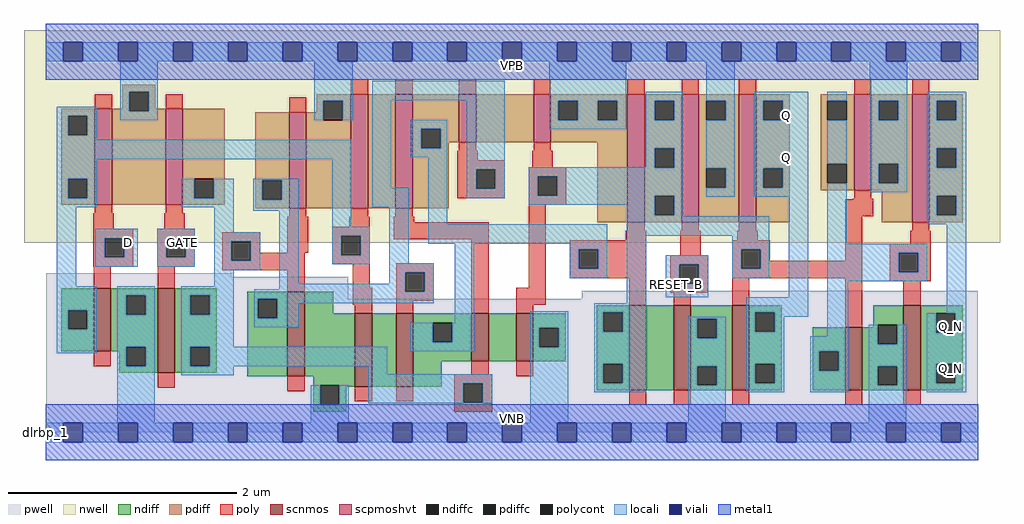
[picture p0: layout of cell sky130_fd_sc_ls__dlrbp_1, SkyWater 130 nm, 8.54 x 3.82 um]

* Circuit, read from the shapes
.subckt sky130_fd_sc_ls__dlrbp_1 D GATE RESET_B VGND VNB VPB VPWR Q Q_N
XM1 VGND D n1 VNB sky130_fd_pr__nfet_01v8 w=0.55 l=0.15
XM2 n2 GATE VGND VNB sky130_fd_pr__nfet_01v8 w=0.74 l=0.15
XM3 VGND n2 n3 VNB sky130_fd_pr__nfet_01v8 w=0.74 l=0.15
XM4 n4 n1 VGND VNB sky130_fd_pr__nfet_01v8 w=0.64 l=0.15
XM5 n5 n3 n4 VNB sky130_fd_pr__nfet_01v8 w=0.64 l=0.15
XM6 n6 n2 n5 VNB sky130_fd_pr__nfet_01v8 w=0.42 l=0.15
XM7 VGND n7 n6 VNB sky130_fd_pr__nfet_01v8 w=0.42 l=0.15
XM8 n8 n5 n7 VNB sky130_fd_pr__nfet_01v8 w=0.74 l=0.15
XM9 VGND RESET_B n8 VNB sky130_fd_pr__nfet_01v8 w=0.74 l=0.15
XM10 Q n7 VGND VNB sky130_fd_pr__nfet_01v8 w=0.74 l=0.15
XM11 VGND n7 n9 VNB sky130_fd_pr__nfet_01v8 w=0.55 l=0.15
XM12 Q_N n9 VGND VNB sky130_fd_pr__nfet_01v8 w=0.74 l=0.15
XM13 VPWR D n1 VPB sky130_fd_pr__pfet_01v8_hvt w=0.84 l=0.15
XM14 n2 GATE VPWR VPB sky130_fd_pr__pfet_01v8_hvt w=0.84 l=0.15
XM15 VPWR n2 n3 VPB sky130_fd_pr__pfet_01v8_hvt w=0.84 l=0.15
XM16 n10 n1 VPWR VPB sky130_fd_pr__pfet_01v8_hvt w=1 l=0.15
XM17 n5 n2 n10 VPB sky130_fd_pr__pfet_01v8_hvt w=1 l=0.15
XM18 n11 n3 n5 VPB sky130_fd_pr__pfet_01v8_hvt w=0.42 l=0.15
XM19 VPWR n7 n11 VPB sky130_fd_pr__pfet_01v8_hvt w=0.42 l=0.15
XM20 n7 n5 VPWR VPB sky130_fd_pr__pfet_01v8_hvt w=1.12 l=0.15
XM21 VPWR RESET_B n7 VPB sky130_fd_pr__pfet_01v8_hvt w=1.12 l=0.15
XM22 Q n7 VPWR VPB sky130_fd_pr__pfet_01v8_hvt w=1.12 l=0.15
XM23 VPWR n7 n9 VPB sky130_fd_pr__pfet_01v8_hvt w=0.84 l=0.15
XM24 Q_N n9 VPWR VPB sky130_fd_pr__pfet_01v8_hvt w=1.12 l=0.15
.ends

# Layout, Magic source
magic
tech sky130A
magscale 1 2
<< nwell >>
rect -38 332 1670 704
<< pwell >>
rect 1 272 325 278
rect 1 234 529 272
rect 938 234 1631 248
rect 1 49 1631 234
rect 0 0 1632 49
<< scnmos >>
rect 84 142 114 252
rect 196 104 226 252
rect 423 98 453 246
rect 541 80 571 208
rect 613 80 643 208
rect 745 124 775 208
rect 823 124 853 208
rect 1021 74 1051 222
rect 1099 74 1129 222
rect 1201 74 1231 222
rect 1399 74 1429 184
rect 1501 74 1531 222
<< scpmoshvt >>
rect 86 398 116 566
rect 210 398 240 566
rect 426 392 456 560
rect 534 392 564 592
rect 612 392 642 592
rect 723 508 753 592
rect 854 508 884 592
rect 1018 368 1048 592
rect 1113 368 1143 592
rect 1213 368 1243 592
rect 1415 424 1445 592
rect 1516 368 1546 592
<< ndiff >>
rect 27 214 84 252
rect 27 180 39 214
rect 73 180 84 214
rect 27 142 84 180
rect 114 240 196 252
rect 114 206 141 240
rect 175 206 196 240
rect 114 150 196 206
rect 114 142 141 150
rect 129 116 141 142
rect 175 116 196 150
rect 129 104 196 116
rect 226 240 299 252
rect 226 206 253 240
rect 287 206 299 240
rect 226 150 299 206
rect 226 116 253 150
rect 287 116 299 150
rect 226 104 299 116
rect 353 234 423 246
rect 353 200 371 234
rect 405 200 423 234
rect 353 98 423 200
rect 453 208 503 246
rect 964 210 1021 222
rect 453 98 541 208
rect 468 82 541 98
rect 468 48 480 82
rect 514 80 541 82
rect 571 80 613 208
rect 643 192 745 208
rect 643 158 677 192
rect 711 158 745 192
rect 643 124 745 158
rect 775 124 823 208
rect 853 183 910 208
rect 853 149 864 183
rect 898 149 910 183
rect 853 124 910 149
rect 964 176 976 210
rect 1010 176 1021 210
rect 643 80 693 124
rect 964 120 1021 176
rect 514 48 526 80
rect 468 36 526 48
rect 964 86 976 120
rect 1010 86 1021 120
rect 964 74 1021 86
rect 1051 74 1099 222
rect 1129 199 1201 222
rect 1129 165 1140 199
rect 1174 165 1201 199
rect 1129 116 1201 165
rect 1129 82 1140 116
rect 1174 82 1201 116
rect 1129 74 1201 82
rect 1231 210 1288 222
rect 1231 176 1242 210
rect 1276 176 1288 210
rect 1448 188 1501 222
rect 1448 184 1456 188
rect 1231 120 1288 176
rect 1231 86 1242 120
rect 1276 86 1288 120
rect 1231 74 1288 86
rect 1342 142 1399 184
rect 1342 108 1354 142
rect 1388 108 1399 142
rect 1342 74 1399 108
rect 1429 154 1456 184
rect 1490 154 1501 188
rect 1429 116 1501 154
rect 1429 82 1456 116
rect 1490 82 1501 116
rect 1429 74 1501 82
rect 1531 208 1605 222
rect 1531 174 1558 208
rect 1592 174 1605 208
rect 1531 120 1605 174
rect 1531 86 1558 120
rect 1592 86 1605 120
rect 1531 74 1605 86
<< pdiff >>
rect 134 596 192 608
rect 134 566 146 596
rect 27 554 86 566
rect 27 520 39 554
rect 73 520 86 554
rect 27 444 86 520
rect 27 410 39 444
rect 73 410 86 444
rect 27 398 86 410
rect 116 562 146 566
rect 180 566 192 596
rect 180 562 210 566
rect 116 398 210 562
rect 240 444 313 566
rect 474 580 534 592
rect 474 560 486 580
rect 240 410 260 444
rect 294 410 313 444
rect 240 398 313 410
rect 367 441 426 560
rect 367 407 379 441
rect 413 407 426 441
rect 367 392 426 407
rect 456 546 486 560
rect 520 546 534 580
rect 456 392 534 546
rect 564 392 612 592
rect 642 531 723 592
rect 642 497 657 531
rect 691 508 723 531
rect 753 508 854 592
rect 884 580 1018 592
rect 884 546 897 580
rect 931 546 966 580
rect 1000 546 1018 580
rect 884 508 1018 546
rect 691 497 705 508
rect 642 392 705 497
rect 965 368 1018 508
rect 1048 580 1113 592
rect 1048 546 1066 580
rect 1100 546 1113 580
rect 1048 497 1113 546
rect 1048 463 1066 497
rect 1100 463 1113 497
rect 1048 414 1113 463
rect 1048 380 1066 414
rect 1100 380 1113 414
rect 1048 368 1113 380
rect 1143 580 1213 592
rect 1143 546 1156 580
rect 1190 546 1213 580
rect 1143 462 1213 546
rect 1143 428 1156 462
rect 1190 428 1213 462
rect 1143 368 1213 428
rect 1243 580 1302 592
rect 1243 546 1256 580
rect 1290 546 1302 580
rect 1243 462 1302 546
rect 1243 428 1256 462
rect 1290 428 1302 462
rect 1243 368 1302 428
rect 1356 580 1415 592
rect 1356 546 1368 580
rect 1402 546 1415 580
rect 1356 470 1415 546
rect 1356 436 1368 470
rect 1402 436 1415 470
rect 1356 424 1415 436
rect 1445 580 1516 592
rect 1445 546 1458 580
rect 1492 546 1516 580
rect 1445 470 1516 546
rect 1445 436 1458 470
rect 1492 436 1516 470
rect 1445 424 1516 436
rect 1463 368 1516 424
rect 1546 580 1605 592
rect 1546 546 1559 580
rect 1593 546 1605 580
rect 1546 497 1605 546
rect 1546 463 1559 497
rect 1593 463 1605 497
rect 1546 414 1605 463
rect 1546 380 1559 414
rect 1593 380 1605 414
rect 1546 368 1605 380
<< ndiffc >>
rect 39 180 73 214
rect 141 206 175 240
rect 141 116 175 150
rect 253 206 287 240
rect 253 116 287 150
rect 371 200 405 234
rect 480 48 514 82
rect 677 158 711 192
rect 864 149 898 183
rect 976 176 1010 210
rect 976 86 1010 120
rect 1140 165 1174 199
rect 1140 82 1174 116
rect 1242 176 1276 210
rect 1242 86 1276 120
rect 1354 108 1388 142
rect 1456 154 1490 188
rect 1456 82 1490 116
rect 1558 174 1592 208
rect 1558 86 1592 120
<< pdiffc >>
rect 39 520 73 554
rect 39 410 73 444
rect 146 562 180 596
rect 260 410 294 444
rect 379 407 413 441
rect 486 546 520 580
rect 657 497 691 531
rect 897 546 931 580
rect 966 546 1000 580
rect 1066 546 1100 580
rect 1066 463 1100 497
rect 1066 380 1100 414
rect 1156 546 1190 580
rect 1156 428 1190 462
rect 1256 546 1290 580
rect 1256 428 1290 462
rect 1368 546 1402 580
rect 1368 436 1402 470
rect 1458 546 1492 580
rect 1458 436 1492 470
rect 1559 546 1593 580
rect 1559 463 1593 497
rect 1559 380 1593 414
<< poly >>
rect 86 566 116 592
rect 534 592 564 618
rect 612 592 642 618
rect 723 592 753 618
rect 854 592 884 618
rect 1018 592 1048 618
rect 1113 592 1143 618
rect 1213 592 1243 618
rect 1415 592 1445 618
rect 1516 592 1546 618
rect 210 566 240 592
rect 426 560 456 586
rect 86 383 116 398
rect 210 383 240 398
rect 723 493 753 508
rect 854 493 884 508
rect 720 476 756 493
rect 720 460 803 476
rect 851 464 887 493
rect 720 426 753 460
rect 787 426 803 460
rect 720 410 803 426
rect 845 448 911 464
rect 845 414 861 448
rect 895 414 911 448
rect 845 398 911 414
rect 83 356 119 383
rect 207 356 243 383
rect 426 377 456 392
rect 534 377 564 392
rect 612 377 642 392
rect 83 340 153 356
rect 83 306 103 340
rect 137 306 153 340
rect 83 290 153 306
rect 195 340 261 356
rect 195 306 211 340
rect 245 306 261 340
rect 195 290 261 306
rect 309 334 375 350
rect 309 300 325 334
rect 359 314 375 334
rect 423 314 459 377
rect 531 360 567 377
rect 501 344 567 360
rect 359 300 453 314
rect 84 252 114 290
rect 196 252 226 290
rect 309 284 453 300
rect 501 310 517 344
rect 551 310 567 344
rect 609 368 645 377
rect 609 338 775 368
rect 501 294 567 310
rect 84 116 114 142
rect 423 246 453 284
rect 537 253 567 294
rect 613 280 679 296
rect 196 78 226 104
rect 537 223 571 253
rect 541 208 571 223
rect 613 246 629 280
rect 663 246 679 280
rect 613 230 679 246
rect 613 208 643 230
rect 745 208 775 338
rect 845 253 875 398
rect 1415 409 1445 424
rect 1412 408 1448 409
rect 1399 378 1448 408
rect 1018 353 1048 368
rect 1113 353 1143 368
rect 1213 353 1243 368
rect 1015 336 1051 353
rect 917 320 1051 336
rect 917 286 933 320
rect 967 286 1051 320
rect 1110 310 1146 353
rect 1210 336 1246 353
rect 1201 320 1267 336
rect 917 270 1051 286
rect 823 223 875 253
rect 823 208 853 223
rect 1021 222 1051 270
rect 1093 294 1159 310
rect 1093 260 1109 294
rect 1143 260 1159 294
rect 1093 244 1159 260
rect 1201 286 1217 320
rect 1251 300 1267 320
rect 1399 300 1429 378
rect 1516 353 1546 368
rect 1513 330 1549 353
rect 1251 286 1429 300
rect 1201 270 1429 286
rect 1099 222 1129 244
rect 1201 222 1231 270
rect 423 72 453 98
rect 745 102 775 124
rect 715 86 781 102
rect 823 98 853 124
rect 541 54 571 80
rect 613 54 643 80
rect 715 52 731 86
rect 765 52 781 86
rect 1399 184 1429 270
rect 1477 314 1549 330
rect 1477 280 1493 314
rect 1527 280 1549 314
rect 1477 264 1549 280
rect 1501 222 1531 264
rect 715 36 781 52
rect 1021 48 1051 74
rect 1099 48 1129 74
rect 1201 48 1231 74
rect 1399 48 1429 74
rect 1501 48 1531 74
<< polycont >>
rect 753 426 787 460
rect 861 414 895 448
rect 103 306 137 340
rect 211 306 245 340
rect 325 300 359 334
rect 517 310 551 344
rect 629 246 663 280
rect 933 286 967 320
rect 1109 260 1143 294
rect 1217 286 1251 320
rect 731 52 765 86
rect 1493 280 1527 314
<< locali >>
rect 0 649 31 683
rect 65 649 127 683
rect 161 649 223 683
rect 257 649 319 683
rect 353 649 415 683
rect 449 649 511 683
rect 545 649 607 683
rect 641 649 703 683
rect 737 649 799 683
rect 833 649 895 683
rect 929 649 991 683
rect 1025 649 1087 683
rect 1121 649 1183 683
rect 1217 649 1279 683
rect 1313 649 1375 683
rect 1409 649 1471 683
rect 1505 649 1567 683
rect 1601 649 1632 683
rect 130 596 196 649
rect 19 554 89 570
rect 19 520 39 554
rect 73 520 89 554
rect 130 562 146 596
rect 180 562 196 596
rect 130 546 196 562
rect 470 580 537 649
rect 470 546 486 580
rect 520 546 537 580
rect 571 581 803 615
rect 19 512 89 520
rect 19 478 535 512
rect 19 444 89 478
rect 19 410 39 444
rect 73 410 89 444
rect 19 394 89 410
rect 237 410 260 444
rect 294 410 329 444
rect 237 394 329 410
rect 19 256 53 394
rect 87 340 161 356
rect 87 306 103 340
rect 137 306 161 340
rect 87 290 161 306
rect 195 340 261 356
rect 195 306 211 340
rect 245 306 261 340
rect 195 290 261 306
rect 295 350 329 394
rect 363 441 443 444
rect 363 407 379 441
rect 413 407 443 441
rect 363 388 443 407
rect 295 334 375 350
rect 295 300 325 334
rect 359 300 375 334
rect 295 284 375 300
rect 295 256 329 284
rect 19 214 89 256
rect 19 180 39 214
rect 73 180 89 214
rect 19 138 89 180
rect 125 240 191 256
rect 125 206 141 240
rect 175 206 191 240
rect 125 150 191 206
rect 125 116 141 150
rect 175 116 191 150
rect 125 17 191 116
rect 237 240 329 256
rect 409 260 443 388
rect 501 360 535 478
rect 571 428 605 581
rect 639 531 703 547
rect 639 497 657 531
rect 691 497 703 531
rect 639 481 703 497
rect 571 394 635 428
rect 501 344 567 360
rect 501 310 517 344
rect 551 310 567 344
rect 501 294 567 310
rect 601 296 635 394
rect 669 364 703 481
rect 737 460 803 581
rect 881 580 1016 649
rect 881 546 897 580
rect 931 546 966 580
rect 1000 546 1016 580
rect 881 530 1016 546
rect 1050 580 1116 596
rect 1050 546 1066 580
rect 1100 546 1116 580
rect 1050 497 1116 546
rect 1050 464 1066 497
rect 737 426 753 460
rect 787 426 803 460
rect 737 410 803 426
rect 845 463 1066 464
rect 1100 463 1116 497
rect 845 448 1116 463
rect 845 414 861 448
rect 895 414 1116 448
rect 845 398 1066 414
rect 1017 380 1066 398
rect 1100 380 1116 414
rect 1156 580 1206 649
rect 1190 546 1206 580
rect 1156 462 1206 546
rect 1190 428 1206 462
rect 1156 412 1206 428
rect 1240 580 1334 596
rect 1240 546 1256 580
rect 1290 546 1334 580
rect 1240 462 1334 546
rect 1240 428 1256 462
rect 1290 428 1334 462
rect 1240 412 1334 428
rect 1017 378 1116 380
rect 669 330 983 364
rect 601 280 679 296
rect 601 260 629 280
rect 409 250 629 260
rect 237 206 253 240
rect 287 206 329 240
rect 237 150 329 206
rect 365 246 629 250
rect 663 246 679 280
rect 365 234 679 246
rect 365 200 371 234
rect 405 226 679 234
rect 405 200 443 226
rect 365 184 443 200
rect 716 192 750 330
rect 917 320 983 330
rect 917 286 933 320
rect 967 286 983 320
rect 917 270 983 286
rect 1017 344 1266 378
rect 1017 226 1051 344
rect 1201 320 1266 344
rect 1085 294 1159 310
rect 1085 260 1109 294
rect 1143 260 1159 294
rect 1201 286 1217 320
rect 1251 286 1266 320
rect 1201 270 1266 286
rect 1085 236 1159 260
rect 1300 236 1334 412
rect 638 158 677 192
rect 711 158 750 192
rect 237 116 253 150
rect 287 116 598 150
rect 638 142 750 158
rect 848 183 914 212
rect 848 149 864 183
rect 898 149 914 183
rect 237 100 329 116
rect 564 102 598 116
rect 564 86 781 102
rect 464 48 480 82
rect 514 48 530 82
rect 564 52 731 86
rect 765 52 781 86
rect 564 51 781 52
rect 464 17 530 48
rect 848 17 914 149
rect 960 210 1051 226
rect 960 176 976 210
rect 1010 176 1051 210
rect 1226 210 1334 236
rect 960 120 1051 176
rect 960 86 976 120
rect 1010 86 1051 120
rect 960 70 1051 86
rect 1124 199 1190 202
rect 1124 165 1140 199
rect 1174 165 1190 199
rect 1124 116 1190 165
rect 1124 82 1140 116
rect 1174 82 1190 116
rect 1124 17 1190 82
rect 1226 176 1242 210
rect 1276 202 1334 210
rect 1368 580 1402 596
rect 1368 470 1402 546
rect 1368 330 1402 436
rect 1442 580 1508 649
rect 1442 546 1458 580
rect 1492 546 1508 580
rect 1442 470 1508 546
rect 1442 436 1458 470
rect 1492 436 1508 470
rect 1442 420 1508 436
rect 1543 580 1611 596
rect 1543 546 1559 580
rect 1593 546 1611 580
rect 1543 497 1611 546
rect 1543 463 1559 497
rect 1593 463 1611 497
rect 1543 414 1611 463
rect 1543 380 1559 414
rect 1593 380 1611 414
rect 1543 364 1611 380
rect 1368 314 1543 330
rect 1368 280 1493 314
rect 1527 280 1543 314
rect 1368 264 1543 280
rect 1276 176 1292 202
rect 1226 120 1292 176
rect 1368 168 1404 264
rect 1577 208 1611 364
rect 1226 86 1242 120
rect 1276 86 1292 120
rect 1226 70 1292 86
rect 1338 142 1404 168
rect 1338 108 1354 142
rect 1388 108 1404 142
rect 1338 70 1404 108
rect 1440 154 1456 188
rect 1490 154 1506 188
rect 1440 116 1506 154
rect 1440 82 1456 116
rect 1490 82 1506 116
rect 1440 17 1506 82
rect 1542 174 1558 208
rect 1592 174 1611 208
rect 1542 120 1611 174
rect 1542 86 1558 120
rect 1592 86 1611 120
rect 1542 70 1611 86
rect 0 -17 31 17
rect 65 -17 127 17
rect 161 -17 223 17
rect 257 -17 319 17
rect 353 -17 415 17
rect 449 -17 511 17
rect 545 -17 607 17
rect 641 -17 703 17
rect 737 -17 799 17
rect 833 -17 895 17
rect 929 -17 991 17
rect 1025 -17 1087 17
rect 1121 -17 1183 17
rect 1217 -17 1279 17
rect 1313 -17 1375 17
rect 1409 -17 1471 17
rect 1505 -17 1567 17
rect 1601 -17 1632 17
<< viali >>
rect 31 649 65 683
rect 127 649 161 683
rect 223 649 257 683
rect 319 649 353 683
rect 415 649 449 683
rect 511 649 545 683
rect 607 649 641 683
rect 703 649 737 683
rect 799 649 833 683
rect 895 649 929 683
rect 991 649 1025 683
rect 1087 649 1121 683
rect 1183 649 1217 683
rect 1279 649 1313 683
rect 1375 649 1409 683
rect 1471 649 1505 683
rect 1567 649 1601 683
rect 31 -17 65 17
rect 127 -17 161 17
rect 223 -17 257 17
rect 319 -17 353 17
rect 415 -17 449 17
rect 511 -17 545 17
rect 607 -17 641 17
rect 703 -17 737 17
rect 799 -17 833 17
rect 895 -17 929 17
rect 991 -17 1025 17
rect 1087 -17 1121 17
rect 1183 -17 1217 17
rect 1279 -17 1313 17
rect 1375 -17 1409 17
rect 1471 -17 1505 17
rect 1567 -17 1601 17
<< metal1 >>
rect 0 683 1632 715
rect 0 649 31 683
rect 65 649 127 683
rect 161 649 223 683
rect 257 649 319 683
rect 353 649 415 683
rect 449 649 511 683
rect 545 649 607 683
rect 641 649 703 683
rect 737 649 799 683
rect 833 649 895 683
rect 929 649 991 683
rect 1025 649 1087 683
rect 1121 649 1183 683
rect 1217 649 1279 683
rect 1313 649 1375 683
rect 1409 649 1471 683
rect 1505 649 1567 683
rect 1601 649 1632 683
rect 0 617 1632 649
rect 0 17 1632 49
rect 0 -17 31 17
rect 65 -17 127 17
rect 161 -17 223 17
rect 257 -17 319 17
rect 353 -17 415 17
rect 449 -17 511 17
rect 545 -17 607 17
rect 641 -17 703 17
rect 737 -17 799 17
rect 833 -17 895 17
rect 929 -17 991 17
rect 1025 -17 1087 17
rect 1121 -17 1183 17
rect 1217 -17 1279 17
rect 1313 -17 1375 17
rect 1409 -17 1471 17
rect 1505 -17 1567 17
rect 1601 -17 1632 17
rect 0 -49 1632 -17
<< labels >>
rlabel comment s 0 0 0 0 4 dlrbp_1
flabel pwell s 0 0 1632 49 0 FreeSans 200 0 0 0 VNB
port 5 nsew ground bidirectional
flabel nwell s 0 617 1632 666 0 FreeSans 200 0 0 0 VPB
port 6 nsew power bidirectional
flabel metal1 s 0 617 1632 666 0 FreeSans 340 0 0 0 VPWR
port 7 nsew power bidirectional abutment
flabel metal1 s 0 0 1632 49 0 FreeSans 340 0 0 0 VGND
port 4 nsew ground bidirectional abutment
flabel locali s 127 316 161 350 0 FreeSans 340 0 0 0 D
port 1 nsew signal input
flabel locali s 1567 94 1601 128 0 FreeSans 340 0 0 0 Q_N
port 9 nsew signal output
flabel locali s 1567 168 1601 202 0 FreeSans 340 0 0 0 Q_N
port 9 nsew signal output
flabel locali s 1279 464 1313 498 0 FreeSans 340 0 0 0 Q
port 8 nsew signal output
flabel locali s 1279 538 1313 572 0 FreeSans 340 0 0 0 Q
port 8 nsew signal output
flabel locali s 223 316 257 350 0 FreeSans 340 0 0 0 GATE
port 2 nsew clock input
flabel locali s 1087 242 1121 276 0 FreeSans 340 0 0 0 RESET_B
port 3 nsew signal input
<< properties >>
string LEFsite unit
string LEFclass CORE
string FIXED_BBOX 0 0 1632 666
string GDS_FILE $PDKPATH/libs.ref/sky130_fd_sc_ls/gds/sky130_fd_sc_ls.gds
string LEFsymmetry X Y
string GDS_END 2043476
string GDS_START 2030776
<< end >>
